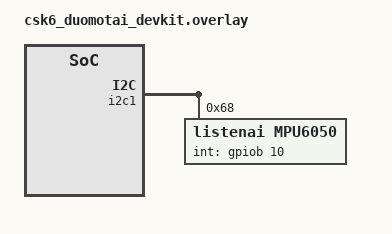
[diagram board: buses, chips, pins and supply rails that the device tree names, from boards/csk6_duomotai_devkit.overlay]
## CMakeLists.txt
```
#Copyright (c) 2025 Anhui(Shenzhen) Listenai Co., Ltd.
#SPDX-License-Identifier: Apache-2.0

cmake_minimum_required(VERSION 3.20.0)
find_package(Zephyr REQUIRED HINTS $ENV{ZEPHYR_BASE})
project(mpu6050_test)

zephyr_compile_options(-Wno-unused-const-variable)
target_sources(app PRIVATE src/main.c)
```

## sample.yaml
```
#Copyright (c) 2025 Anhui(Shenzhen) Listenai Co., Ltd.

#SPDX-License-Identifier: Apache-2.0

sample:
  name: MPU6050 Sensor Test
tests:
  sample.sensor.mpu6050.test:
    build_only: true
    platform_allow: csk6_duomotai_devkit
    tags: sensors
    integration_platforms:
      - csk6_duomotai_devkit
```

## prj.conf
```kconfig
#
# Copyright (c) 2019 Nordic Semiconductor ASA
#
# SPDX-License-Identifier: Apache-2.0
#

CONFIG_STDOUT_CONSOLE=y
CONFIG_I2C=y
CONFIG_SENSOR=y
CONFIG_MPU6050=y
CONFIG_MPU6050_TRIGGER_NONE=y
CONFIG_MPU6050_THREAD_PRIORITY=10
CONFIG_MPU6050_THREAD_STACK_SIZE=1024
CONFIG_CBPRINTF_FP_SUPPORT=y
```

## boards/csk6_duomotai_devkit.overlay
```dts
/*
 * Copyright (c) 2025 Anhui(Shenzhen) Listenai Co., Ltd.
 *
 * SPDX-License-Identifier: Apache-2.0
 */
 &pinctrl {
	/* I2C alternate function */
	pinctrl_i2c1_scl_default: i2c1_scl_default{
		pinctrls = <I2C1_SCL_GPIOB_09>;
	};

	pinctrl_i2c1_sda_default: i2c1_sda_default{
		pinctrls = <I2C1_SDA_GPIOB_08>;
	};
};


&i2c1 {
	status = "okay";
	pinctrl-0 = <&pinctrl_i2c1_scl_default &pinctrl_i2c1_sda_default>;
	pinctrl-names = "default";
	mpu6050: mpu6050@68 {
		compatible = "listenai,mpu6050";
		reg = <0x68>;
		status = "okay";
		int-gpios = <&gpiob 10 GPIO_ACTIVE_HIGH>;
	};

};
```

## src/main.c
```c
/*
 * Copyright (c) 2025 Anhui(Shenzhen) Listenai Co., Ltd.
 *
 * SPDX-License-Identifier: Apache-2.0
 */
#include <zephyr/kernel.h>
#include <zephyr/device.h>
#include <zephyr/drivers/sensor.h>
#include <stdio.h>

static const char *now_str(void)
{
	static char buf[16];
	uint32_t now = k_uptime_get_32();
	unsigned int ms = now % MSEC_PER_SEC;
	unsigned int s;
	unsigned int min;
	unsigned int h;

	now /= MSEC_PER_SEC;
	s = now % 60U;
	now /= 60U;
	min = now % 60U;
	now /= 60U;
	h = now;

	snprintf(buf, sizeof(buf), "%u:%02u:%02u.%03u",
		 h, min, s, ms);
	return buf;
}

static int process_mpu6050(const struct device *dev)
{
	struct sensor_value temperature;
	struct sensor_value accel[3];
	struct sensor_value gyro[3];
	int rc = sensor_sample_fetch(dev);

	if (rc == 0) {
		rc = sensor_channel_get(dev, SENSOR_CHAN_ACCEL_XYZ,
					accel);
	}
	if (rc == 0) {
		rc = sensor_channel_get(dev, SENSOR_CHAN_GYRO_XYZ,
					gyro);
	}
	if (rc == 0) {
		rc = sensor_channel_get(dev, SENSOR_CHAN_AMBIENT_TEMP,
					&temperature);
	}
	if (rc == 0) {
		printf("[%s]:%g Cel\n"
		       "  accel %f %f %f m/s/s\n"
		       "  gyro  %f %f %f rad/s\n",
		       now_str(),
		       sensor_value_to_double(&temperature),
		       sensor_value_to_double(&accel[0]),
		       sensor_value_to_double(&accel[1]),
		       sensor_value_to_double(&accel[2]),
		       sensor_value_to_double(&gyro[0]),
		       sensor_value_to_double(&gyro[1]),
		       sensor_value_to_double(&gyro[2]));
	} else {
		printf("sample fetch/get failed: %d\n", rc);
	}

	return rc;
}

#ifdef CONFIG_MPU6050_TRIGGER
static struct sensor_trigger trigger;

static void handle_mpu6050_drdy(const struct device *dev,
				const struct sensor_trigger *trig)
{
	int rc = process_mpu6050(dev);

	if (rc != 0) {
		printf("cancelling trigger due to failure: %d\n", rc);
		(void)sensor_trigger_set(dev, trig, NULL);
		return;
	}
}
#endif

int main(void)
{
	const struct device *const mpu6050 = DEVICE_DT_GET(DT_NODELABEL(mpu6050));
	if (!device_is_ready(mpu6050)) {
		printf("Device %s is not ready\n", mpu6050->name);
		return 0;
	}

#ifdef CONFIG_MPU6050_TRIGGER
	trigger = (struct sensor_trigger) {
		.type = SENSOR_TRIG_DATA_READY,
		.chan = SENSOR_CHAN_ALL,
	};
	if (sensor_trigger_set(mpu6050, &trigger,
			       handle_mpu6050_drdy) < 0) {
		printf("Cannot configure trigger\n");
		return 0;
	}
	printk("Configured for triggered sampling.\n");
#endif

	while (!IS_ENABLED(CONFIG_MPU6050_TRIGGER)) {
		int rc = process_mpu6050(mpu6050);

		if (rc != 0) {
			break;
		}
		k_sleep(K_SECONDS(2));
	}

	return 0;
}
```
